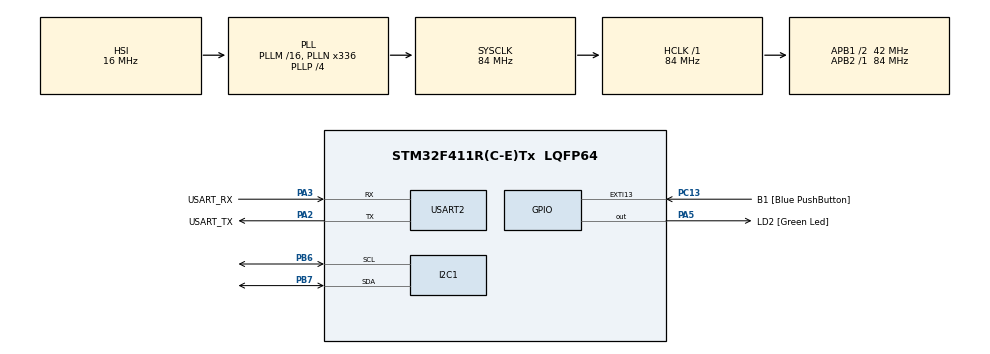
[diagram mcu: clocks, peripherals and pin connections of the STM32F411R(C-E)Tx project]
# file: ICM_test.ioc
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I2C1.I2C_Mode=I2C_Fast
Mcu.Family=STM32F4
Mcu.Name=STM32F411R(C-E)Tx
Mcu.Package=LQFP64
NVIC.PriorityGroup=NVIC_PRIORITYGROUP_0
PA13.GPIO_Label=TMS
PA13.Mode=Serial_Wire
PA13.Signal=SYS_JTMS-SWDIO
PA14.GPIO_Label=TCK
PA14.Mode=Serial_Wire
PA14.Signal=SYS_JTCK-SWCLK
PA2.GPIO_Label=USART_TX
PA2.Mode=Asynchronous
PA2.Signal=USART2_TX
PA3.GPIO_Label=USART_RX
PA3.Mode=Asynchronous
PA3.Signal=USART2_RX
PA5.GPIO_Label=LD2 [Green Led]
PA5.Signal=GPIO_Output
PB3.GPIO_Label=SWO
PB3.Signal=SYS_JTDO-SWO
PB6.Mode=I2C
PB6.Signal=I2C1_SCL
PB7.Mode=I2C
PB7.Signal=I2C1_SDA
PC13-ANTI_TAMP.GPIO_Label=B1 [Blue PushButton]
PC13-ANTI_TAMP.GPIO_ModeDefaultEXTI=GPIO_MODE_IT_FALLING
PC13-ANTI_TAMP.Signal=GPXTI13
PC14-OSC32_IN.Mode=LSE-External-Oscillator
PC14-OSC32_IN.Signal=RCC_OSC32_IN
PC15-OSC32_OUT.Mode=LSE-External-Oscillator
PC15-OSC32_OUT.Signal=RCC_OSC32_OUT
PH0\ -\ OSC_IN.Mode=HSE-External-Clock-Source
PH0\ -\ OSC_IN.Signal=RCC_OSC_IN
PH1\ -\ OSC_OUT.Mode=HSE-External-Clock-Source
PH1\ -\ OSC_OUT.Signal=RCC_OSC_OUT
ProjectManager.HeapSize=0x200
ProjectManager.StackSize=0x400
ProjectManager.TargetToolchain=STM32CubeIDE
RCC.48MHZClocksFreq_Value=84000000
RCC.AHBFreq_Value=84000000
RCC.APB1CLKDivider=RCC_HCLK_DIV2
RCC.APB1Freq_Value=42000000
RCC.APB1TimFreq_Value=84000000
RCC.APB2Freq_Value=84000000
RCC.APB2TimFreq_Value=84000000
RCC.CortexFreq_Value=84000000
RCC.FLatency-AdvancedSettings=FLASH_LATENCY_2
RCC.HCLKFreq_Value=84000000
RCC.HSE_VALUE=8000000
RCC.HSI_VALUE=16000000
RCC.PLLN=336
RCC.PLLP=RCC_PLLP_DIV4
RCC.SYSCLKFreq_VALUE=84000000
RCC.SYSCLKSource=RCC_SYSCLKSOURCE_PLLCLK
RCC.VCOOutputFreq_Value=336000000
USART2.VirtualMode=VM_ASYNC
board=NUCLEO-F411RE

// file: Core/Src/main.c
/* USER CODE BEGIN Header */
/**
  ******************************************************************************
  * @file           : main.c
  * @brief          : Main program body
  ******************************************************************************
  * @attention
  *
  * Copyright (c) 2026 STMicroelectronics.
  * All rights reserved.
  *
  * This software is licensed under terms that can be found in the LICENSE file
  * in the root directory of this software component.
  * If no LICENSE file comes with this software, it is provided AS-IS.
  *
  ******************************************************************************
  */
/* USER CODE END Header */
#include "main.h"

/* USER CODE BEGIN Includes */
#include "icm20948.h"   /* ICM20948 드라이버 (가속도/자이로/마그 + 필터) */
#include <stdio.h>
#include <string.h>
/* USER CODE END Includes */

I2C_HandleTypeDef hi2c1;

UART_HandleTypeDef huart2;

/* USER CODE BEGIN PV */
ICM20948_HandleTypeDef hicm20948;  /* ICM20948 드라이버 핸들 (I2C 주소·필터 상태 포함) */
/* USER CODE END PV */

void SystemClock_Config(void);
static void MX_GPIO_Init(void);
static void MX_USART2_UART_Init(void);
static void MX_I2C1_Init(void);

int main(void)
{

  /* MCU Configuration--------------------------------------------------------*/

  /* Reset of all peripherals, Initializes the Flash interface and the Systick. */
  HAL_Init();

  /* Configure the system clock */
  SystemClock_Config();

  /* Initialize all configured peripherals */
  MX_GPIO_Init();
  MX_USART2_UART_Init();
  MX_I2C1_Init();
  /* USER CODE BEGIN 2 */
  /* ICM20948 초기화 (I2C 0x68 -> 실패 시 0x69 시도). 실패하면 LD2 깜빡이며 대기 */
  if (ICM20948_Init(&hicm20948, &hi2c1) != HAL_OK) {
    while (1) {
      HAL_GPIO_TogglePin(LD2_GPIO_Port, LD2_Pin);
      HAL_Delay(200);
    }
  }
  HAL_Delay(100);
  /* 필터: 이동평균(MA) 윈도우 10. 고정 시 노이즈 감소. EMA 쓰려면 ICM20948_SetFilter(&hicm20948, 1, 0.2f); */
  ICM20948_SetFilterMovingAvg(&hicm20948, 1, 10);
  /* USER CODE END 2 */

  /* Infinite loop */
  while (1)
  {

    /* USER CODE BEGIN 3 */
    /* 가속도/자이로/마그 한 번에 읽기 (필터 적용된 값은 g, dps, uT에 들어감) */
    ICM20948_AxisRaw_t accel_raw, gyro_raw, mag_raw;
    ICM20948_Axis_t accel_g, gyro_dps, mag_ut;
    char msg[160];

    if (ICM20948_ReadAll(&hicm20948, &accel_raw, &accel_g, &gyro_raw, &gyro_dps, &mag_raw, &mag_ut) == HAL_OK) {
      /* UART2(115200)로 raw + 물리값 출력. A=가속도(g), G=자이로(dps), M=마그(uT) */
      int n = snprintf(msg, sizeof(msg),
          "A: %d %d %d (%.2f %.2f %.2f g)\r\nG: %d %d %d (%.1f %.1f %.1f dps)\r\nM: %d %d %d (%.1f %.1f %.1f uT)\r\n",
          (int)accel_raw.x, (int)accel_raw.y, (int)accel_raw.z,
          (double)accel_g.x, (double)accel_g.y, (double)accel_g.z,
          (int)gyro_raw.x, (int)gyro_raw.y, (int)gyro_raw.z,
          (double)gyro_dps.x, (double)gyro_dps.y, (double)gyro_dps.z,
          (int)mag_raw.x, (int)mag_raw.y, (int)mag_raw.z,
          (double)mag_ut.x, (double)mag_ut.y, (double)mag_ut.z);
      if (n > 0 && (size_t)n < sizeof(msg))
        HAL_UART_Transmit(&huart2, (uint8_t *)msg, (uint16_t)n, 100);
    }
    HAL_Delay(200);  /* 200ms마다 한 번 출력 */
  }
  /* USER CODE END 3 */
}

void SystemClock_Config(void)
{
  RCC_OscInitTypeDef RCC_OscInitStruct = {0};
  RCC_ClkInitTypeDef RCC_ClkInitStruct = {0};

  /** Configure the main internal regulator output voltage
  */
  __HAL_RCC_PWR_CLK_ENABLE();
  __HAL_PWR_VOLTAGESCALING_CONFIG(PWR_REGULATOR_VOLTAGE_SCALE1);

  /** Initializes the RCC Oscillators according to the specified parameters
  * in the RCC_OscInitTypeDef structure.
  */
  RCC_OscInitStruct.OscillatorType = RCC_OSCILLATORTYPE_HSI;
  RCC_OscInitStruct.HSIState = RCC_HSI_ON;
  RCC_OscInitStruct.HSICalibrationValue = RCC_HSICALIBRATION_DEFAULT;
  RCC_OscInitStruct.PLL.PLLState = RCC_PLL_ON;
  RCC_OscInitStruct.PLL.PLLSource = RCC_PLLSOURCE_HSI;
  RCC_OscInitStruct.PLL.PLLM = 16;
  RCC_OscInitStruct.PLL.PLLN = 336;
  RCC_OscInitStruct.PLL.PLLP = RCC_PLLP_DIV4;
  RCC_OscInitStruct.PLL.PLLQ = 4;
  if (HAL_RCC_OscConfig(&RCC_OscInitStruct) != HAL_OK)
  {
    Error_Handler();
  }

  /** Initializes the CPU, AHB and APB buses clocks
  */
  RCC_ClkInitStruct.ClockType = RCC_CLOCKTYPE_HCLK|RCC_CLOCKTYPE_SYSCLK
                              |RCC_CLOCKTYPE_PCLK1|RCC_CLOCKTYPE_PCLK2;
  RCC_ClkInitStruct.SYSCLKSource = RCC_SYSCLKSOURCE_PLLCLK;
  RCC_ClkInitStruct.AHBCLKDivider = RCC_SYSCLK_DIV1;
  RCC_ClkInitStruct.APB1CLKDivider = RCC_HCLK_DIV2;
  RCC_ClkInitStruct.APB2CLKDivider = RCC_HCLK_DIV1;

  if (HAL_RCC_ClockConfig(&RCC_ClkInitStruct, FLASH_LATENCY_2) != HAL_OK)
  {
    Error_Handler();
  }
}

static void MX_I2C1_Init(void)
{

  hi2c1.Instance = I2C1;
  hi2c1.Init.ClockSpeed = 400000;
  hi2c1.Init.DutyCycle = I2C_DUTYCYCLE_2;
  hi2c1.Init.OwnAddress1 = 0;
  hi2c1.Init.AddressingMode = I2C_ADDRESSINGMODE_7BIT;
  hi2c1.Init.DualAddressMode = I2C_DUALADDRESS_DISABLE;
  hi2c1.Init.OwnAddress2 = 0;
  hi2c1.Init.GeneralCallMode = I2C_GENERALCALL_DISABLE;
  hi2c1.Init.NoStretchMode = I2C_NOSTRETCH_DISABLE;
  if (HAL_I2C_Init(&hi2c1) != HAL_OK)
  {
    Error_Handler();
  }

}

static void MX_USART2_UART_Init(void)
{

  huart2.Instance = USART2;
  huart2.Init.BaudRate = 115200;
  huart2.Init.WordLength = UART_WORDLENGTH_8B;
  huart2.Init.StopBits = UART_STOPBITS_1;
  huart2.Init.Parity = UART_PARITY_NONE;
  huart2.Init.Mode = UART_MODE_TX_RX;
  huart2.Init.HwFlowCtl = UART_HWCONTROL_NONE;
  huart2.Init.OverSampling = UART_OVERSAMPLING_16;
  if (HAL_UART_Init(&huart2) != HAL_OK)
  {
    Error_Handler();
  }

}

static void MX_GPIO_Init(void)
{
  GPIO_InitTypeDef GPIO_InitStruct = {0};

  /* GPIO Ports Clock Enable */
  __HAL_RCC_GPIOC_CLK_ENABLE();
  __HAL_RCC_GPIOH_CLK_ENABLE();
  __HAL_RCC_GPIOA_CLK_ENABLE();
  __HAL_RCC_GPIOB_CLK_ENABLE();

  /*Configure GPIO pin Output Level */
  HAL_GPIO_WritePin(LD2_GPIO_Port, LD2_Pin, GPIO_PIN_RESET);

  /*Configure GPIO pin : B1_Pin */
  GPIO_InitStruct.Pin = B1_Pin;
  GPIO_InitStruct.Mode = GPIO_MODE_IT_FALLING;
  GPIO_InitStruct.Pull = GPIO_NOPULL;
  HAL_GPIO_Init(B1_GPIO_Port, &GPIO_InitStruct);

  /*Configure GPIO pin : LD2_Pin */
  GPIO_InitStruct.Pin = LD2_Pin;
  GPIO_InitStruct.Mode = GPIO_MODE_OUTPUT_PP;
  GPIO_InitStruct.Pull = GPIO_NOPULL;
  GPIO_InitStruct.Speed = GPIO_SPEED_FREQ_LOW;
  HAL_GPIO_Init(LD2_GPIO_Port, &GPIO_InitStruct);

}

void Error_Handler(void)
{
  __disable_irq();
  while (1)
  {
  }
}
